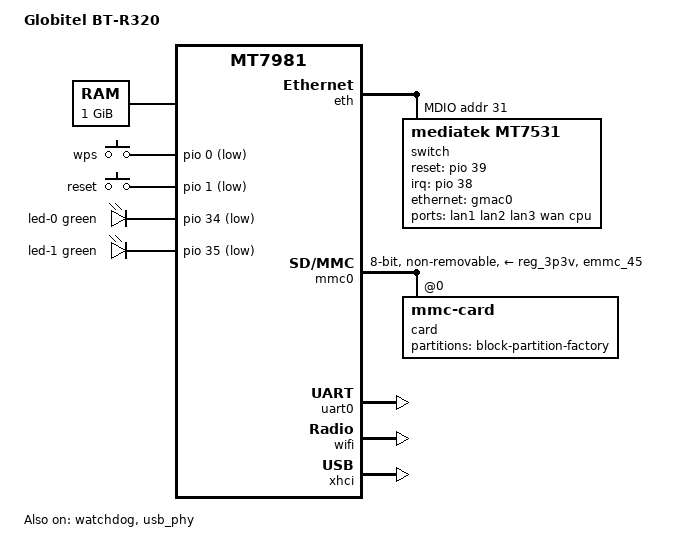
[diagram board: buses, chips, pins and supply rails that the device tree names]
// SPDX-License-Identifier: GPL-2.0-or-later OR MIT

/dts-v1/;
#include <dt-bindings/gpio/gpio.h>
#include <dt-bindings/input/input.h>
#include <dt-bindings/leds/common.h>

#include "mt7981b.dtsi"

/ {
	model = "Globitel BT-R320";
	compatible = "globitel,bt-r320", "mediatek,mt7981";

	aliases {
		serial0 = &uart0;
		label-mac-device = &gmac0;
	};

	chosen {
		bootargs = "root=PARTLABEL=rootfs rootwait";
		stdout-path = "serial0:115200n8";
	};

	memory@40000000 {
		device_type = "memory";
		reg = <0 0x40000000 0 0x40000000>;
	};

	gpio-keys {
		compatible = "gpio-keys";

		button-wps {
			label = "wps";
			linux,code = <KEY_WPS_BUTTON>;
			gpios = <&pio 0 GPIO_ACTIVE_LOW>;
		};

		button-reset {
			label = "reset";
			linux,code = <KEY_RESTART>;
			gpios = <&pio 1 GPIO_ACTIVE_LOW>;
		};
	};

	gpio-leds {
		compatible = "gpio-leds";

		led-0 {
			function = LED_FUNCTION_WLAN_2GHZ;
			color = <LED_COLOR_ID_GREEN>;
			gpios = <&pio 34 GPIO_ACTIVE_LOW>;
			linux,default-trigger = "phy0tpt";
		};

		led-1 {
			function = LED_FUNCTION_WLAN_5GHZ;
			color = <LED_COLOR_ID_GREEN>;
			gpios = <&pio 35 GPIO_ACTIVE_LOW>;
			linux,default-trigger = "phy1tpt";
		};
	};
};

&eth {
	status = "okay";

	gmac0: mac@0 {
		compatible = "mediatek,eth-mac";
		reg = <0>;
		phy-mode = "2500base-x";
		nvmem-cells = <&macaddr_factory_2a 0>;
		nvmem-cell-names = "mac-address";
		fixed-link {
			speed = <2500>;
			full-duplex;
			pause;
		};
	};

	gmac1: mac@1 {
		compatible = "mediatek,eth-mac";
		reg = <1>;
		phy-mode = "gmii";
		phy-handle = <&int_gbe_phy>;
	};

	mdio: mdio-bus {
		#address-cells = <1>;
		#size-cells = <0>;

		switch@0 {
			compatible = "mediatek,mt7531";
			reg = <31>;
			reset-gpios = <&pio 39 GPIO_ACTIVE_HIGH>;
			interrupt-controller;
			#interrupt-cells = <1>;
			interrupt-parent = <&pio>;
			interrupts = <38 IRQ_TYPE_LEVEL_HIGH>;

			ports {
				#address-cells = <1>;
				#size-cells = <0>;

				port@1 {
					reg = <1>;
					label = "lan1";
				};

				port@2 {
					reg = <2>;
					label = "lan2";
				};

				port@3 {
					reg = <3>;
					label = "lan3";
				};

				port@4 {
					reg = <4>;
					label = "wan";
					nvmem-cells = <&macaddr_factory_24 0>;
					nvmem-cell-names = "mac-address";
				};

				port@6 {
					reg = <6>;
					label = "cpu";
					ethernet = <&gmac0>;
					phy-mode = "2500base-x";
					fixed-link {
						speed = <2500>;
						full-duplex;
						pause;
					};
				};
			};
		};
	};
};

&mmc0 {
	status = "okay";
	pinctrl-names = "default", "state_uhs";
	pinctrl-0 = <&mmc0_pins_default>;
	pinctrl-1 = <&mmc0_pins_uhs>;
	bus-width = <8>;
	max-frequency = <52000000>;
	vmmc-supply = <&reg_3p3v>;
	cap-mmc-highspeed;
	non-removable;
	no-sd;
	no-sdio;

	card@0 {
		compatible = "mmc-card";
		reg = <0>;

		block {
			compatible = "block-device";

			partitions {
				block-partition-factory {
					partname = "factory";

					nvmem-layout {
						compatible = "fixed-layout";
						#address-cells = <1>;
						#size-cells = <1>;

						eeprom_factory_0: eeprom@0 {
							reg = <0x0 0x1000>;
						};

						macaddr_factory_24: macaddr@24 {
							compatible = "mac-base";
							reg = <0x24 0x6>;
							#nvmem-cell-cells = <1>;
						};

						macaddr_factory_2a: macaddr@2a {
							compatible = "mac-base";
							reg = <0x2a 0x6>;
							#nvmem-cell-cells = <1>;
						};
					};
				};
			};
		};
	};
};

&pio {
	mmc0_pins_default: mmc0-pins-default {
		mux {
			function = "flash";
			groups = "emmc_45";
		};
	};

	mmc0_pins_uhs: mmc0-pins-uhs {
		mux {
			function = "flash";
			groups = "emmc_45";
		};
	};
};

&uart0 {
	status = "okay";
};

&watchdog {
	status = "okay";
};

&wifi {
	nvmem-cells = <&eeprom_factory_0>;
	nvmem-cell-names = "eeprom";
	status = "okay";
};

&usb_phy {
	status = "okay";
};

&xhci {
	status = "okay";
};
